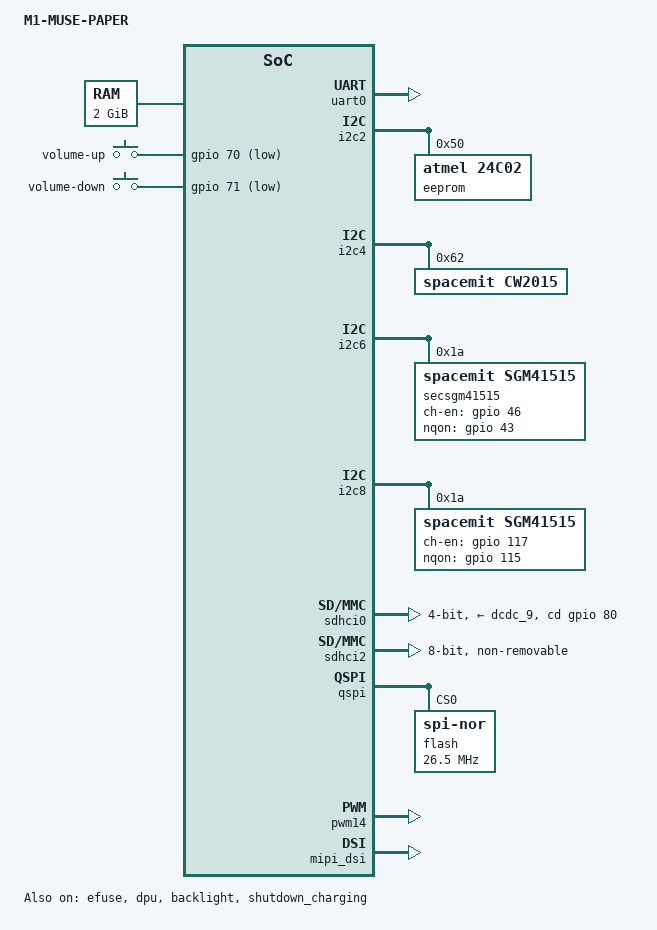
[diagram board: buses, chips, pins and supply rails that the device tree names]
// SPDX-License-Identifier: (GPL-2.0 OR MIT)
/* Copyright (c) 2023 Spacemit, Inc */

/dts-v1/;

#include "k1-x.dtsi"
#include "k1-x_pinctrl.dtsi"
#include "k1-x_spm8821.dtsi"
#include <dt-bindings/input/input.h>

/ {
	model = "M1-MUSE-PAPER";

	aliases {
		efuse_power = &ldo_31;
	};

	memory@0 {
		device_type = "memory";
		reg = <0x00000000 0x00000000 0x00000000 0x80000000>;
	};

	chosen {
		bootargs = "earlycon=sbi console=ttyS0,115200 debug loglevel=8,initcall_debug=1 rdinit=/init.tmp";
		stdout-path = "serial0:115200n8";
	};

	usb2hub: usb2hub {
		compatible = "spacemit,usb-hub";
		vbus-gpios = <&gpio 123 0>;	/* for usb2 hub output vbus */
		status = "disabled";
	};

	usb3hub: usb3hub {
		compatible = "spacemit,usb-hub";
		vbus-gpios = <&gpio 79 0>;	/* gpio_79 for usb3 pwren */
		status = "disabled";
	};

	gpio_keys: gpio_keys {
		compatible = "gpio-keys";
		fastboot-key-combo = "volume-up";
		fastboot-key-press-time = <2000>; /* in milliseconds */

		volume-up-button {
			label = "volume-up";
			linux,code = <KEY_VOLUMEUP>;
			gpios = <&gpio 70 1>;
			debounce-interval = <10>;
		};

		volume-down-button {
			label = "volume-down";
			linux,code = <KEY_VOLUMEDOWN>;
			gpios = <&gpio 71 1>;
			debounce-interval = <10>;
		};
	};

};

&cpus {
	timebase-frequency = <24000000>;
};

&uart0 {
	status = "okay";
};

&i2c0 {
	status = "disabled";
};

&i2c1 {
	status = "disabled";
};

&i2c2 {
	#address-cells = <1>;
	#size-cells = <0>;
	pinctrl-names = "default";
	pinctrl-0 = <&pinctrl_i2c2_0>;
	status = "okay";

	eeprom@50{
		compatible = "atmel,24c02";
		reg = <0x50>;
		vin-supply-names = "eeprom_1v8";
		status = "okay";
	};
};

&i2c3 {
	status = "disabled";
};

&i2c4 {
	#address-cells = <1>;
	#size-cells = <0>;
	pinctrl-names = "default";
	pinctrl-0 = <&pinctrl_i2c4_2>;
	status = "okay";

	cw2015: cw2015@62 {
		compatible = "spacemit,cw2015";
		reg = <0x62>;
		cellwise,battery-profile = /bits/ 8 <
			0x17 0x67 0x73 0x69 0x68 0x65 0x64 0x55
			0x75 0x60 0x4A 0x57 0x57 0x4E 0x42 0x3A
			0x30 0x28 0x23 0x1E 0x23 0x35 0x46 0x4D
			0x14 0x86 0x06 0x66 0x25 0x45 0x51 0x63
			0x72 0x69 0x66 0x6B 0x3F 0x1B 0x78 0x39
			0x0A 0x2F 0x1A 0x46 0x88 0x94 0x9B 0x12
			0x3B 0x5F 0x9A 0xB6 0x80 0x57 0x7F 0xCB
			0x2F 0x00 0x64 0xA5 0xB5 0xC1 0x46 0xAE
		>;
		status = "okay";
	};
};

&i2c5 {
	pinctrl-names = "default";
	pinctrl-0 = <&pinctrl_i2c5_0>;
	status = "disabled";
};

&i2c6 {
	pinctrl-names = "default";
	pinctrl-0 = <&pinctrl_i2c6_0>;
	status = "okay";
	secsgm41515: sgm41515-2 {
		compatible = "spacemit,sgm41515";
		reg = <0x1a>;
		ch-en-gpios = <&gpio 46 0>;
		nqon-gpios = <&gpio 43 0>;

		sgm41515-ichrg-uA = <1000000>;
		sgm41515-vchrg-uV = <4350000>;
		sgm41515-cur-input-uA = <2000000>;
		status = "okay";
	};
};

&i2c7 {
	status = "disabled";
};

&i2c8 {
	sgm41515: sgm41515 {
		compatible = "spacemit,sgm41515";
		reg = <0x1a>;
		ch-en-gpios = <&gpio 117 0>;
		nqon-gpios = <&gpio 115 0>;

		sgm41515-ichrg-uA = <1000000>;
		sgm41515-vchrg-uV = <4350000>;
		sgm41515-cur-input-uA = <2000000>;
		status = "okay";
	};
};

&pinctrl {
	pinctrl-single,gpio-range = <
		&range GPIO_49  2 (MUX_MODE0 | EDGE_NONE | PULL_UP   | PAD_3V_DS4)
		&range GPIO_58  1 (MUX_MODE0 | EDGE_NONE | PULL_DOWN | PAD_1V8_DS2)
		&range GPIO_63  1 (MUX_MODE0 | EDGE_NONE | PULL_DOWN | PAD_1V8_DS2)
		&range GPIO_64  1 (MUX_MODE1 | EDGE_NONE | PULL_DOWN | PAD_1V8_DS2)
		&range GPIO_65  1 (MUX_MODE0 | EDGE_NONE | PULL_UP   | PAD_1V8_DS2)
		&range GPIO_66  2 (MUX_MODE0 | EDGE_NONE | PULL_DOWN | PAD_1V8_DS2)
		&range PRI_TDI  2 (MUX_MODE1 | EDGE_NONE | PULL_UP   | PAD_1V8_DS2)
		&range PRI_TCK  1 (MUX_MODE1 | EDGE_NONE | PULL_DOWN | PAD_1V8_DS2)
		&range PRI_TDO  1 (MUX_MODE1 | EDGE_NONE | PULL_UP   | PAD_1V8_DS2)
		&range GPIO_74  1 (MUX_MODE0 | EDGE_NONE | PULL_UP   | PAD_1V8_DS2)
		&range GPIO_79  1 (MUX_MODE0 | EDGE_NONE | PULL_UP   | PAD_1V8_DS2)
		&range GPIO_80  1 (MUX_MODE0 | EDGE_NONE | PULL_UP   | PAD_3V_DS4)
		&range GPIO_81  3 (MUX_MODE0 | EDGE_NONE | PULL_UP   | PAD_1V8_DS2)
		&range GPIO_90  1 (MUX_MODE0 | EDGE_NONE | PULL_DOWN | PAD_1V8_DS2)
		&range GPIO_91  2 (MUX_MODE0 | EDGE_NONE | PULL_UP   | PAD_1V8_DS2)
		&range DVL0     2 (MUX_MODE1 | EDGE_NONE | PULL_DOWN | PAD_1V8_DS2)
		&range GPIO_110 1 (MUX_MODE0 | EDGE_NONE | PULL_DOWN | PAD_1V8_DS2)
		&range GPIO_114 1 (MUX_MODE0 | EDGE_NONE | PULL_DOWN | PAD_1V8_DS2)
		&range GPIO_115 2 (MUX_MODE0 | EDGE_NONE | PULL_DOWN | PAD_1V8_DS2)
		&range GPIO_123 1 (MUX_MODE0 | EDGE_NONE | PULL_DOWN | PAD_1V8_DS2)
		&range GPIO_124 1 (MUX_MODE0 | EDGE_NONE | PULL_UP   | PAD_1V8_DS2)
		&range GPIO_125 3 (MUX_MODE0 | EDGE_NONE | PULL_DOWN | PAD_1V8_DS2)
	>;
};

&gpio{
	gpio-ranges = <
		&pinctrl 49 GPIO_49 2
		&pinctrl 58 GPIO_58 1
		&pinctrl 63 GPIO_63 1
		&pinctrl 65 GPIO_65 3
		&pinctrl 70 PRI_TDI 4
		&pinctrl 74 GPIO_74 1
		&pinctrl 79 GPIO_79 1
		&pinctrl 80 GPIO_80 4
		&pinctrl 90 GPIO_90 3
		&pinctrl 96 DVL0 2
		&pinctrl 110 GPIO_110 1
		&pinctrl 114 GPIO_114 3
		&pinctrl 123 GPIO_123 5
	>;
};

&udc {
	status = "disabled";
};

&usbphy1 {
	status = "disabled";
};

&ehci1 {
	vbus-supply = <&usb2hub>;
	status = "disabled";
};

&usb2phy {
	status = "disabled";
};

&combphy {
	status = "disabled";
};


&usbdrd3 {
	status = "disabled";
	vbus-supply = <&usb3hub>;
	dwc3@c0a00000 {
		dr_mode = "host";
		phy_type = "utmi";
		snps,dis_enblslpm_quirk;
		snps,dis_u2_susphy_quirk;
		snps,dis_u3_susphy_quirk;
		snps,dis-del-phy-power-chg-quirk;
		snps,dis-tx-ipgap-linecheck-quirk;
	};
};

&sdhci0 {
	pinctrl-names = "default","fast";
	pinctrl-0 = <&pinctrl_mmc1>;
	pinctrl-1 = <&pinctrl_mmc1_fast>;
	bus-width = <4>;
	cd-gpios = <&gpio 80 0>;
	vmmc-supply = <&dcdc_9>;
	vqmmc-supply = <&ldo_23>;
	spacemit,aib_mmc1_io_reg = <0xD401E81C>;
	spacemit,apbc_asfar_reg = <0xD4015050>;
	spacemit,apbc_assar_reg = <0xD4015054>;
	spacemit,rx_dline_reg = <0x0>;
	spacemit,tx_dline_reg = <0x0>;
	spacemit,tx_delaycode = <0x7f>;
	spacemit,rx_tuning_limit = <50>;
	sdh-phy-module = <0>;
	clk-src-freq = <204800000>;
	status = "okay";
};

/* eMMC */
&sdhci2 {
	bus-width = <8>;
	non-removable;
	mmc-hs400-1_8v;
	mmc-hs400-enhanced-strobe;
	sdh-phy-module = <1>;
	clk-src-freq = <375000000>;
	status = "okay";
};

&qspi {
	status = "okay";
	pinctrl-names = "default";
	pinctrl-0 = <&pinctrl_qspi>;

	flash@0 {
		compatible = "jedec,spi-nor";
		reg = <0>;
		spi-max-frequency = <26500000>;
		m25p,fast-read;
		broken-flash-reset;
		status = "okay";
	};
};

&efuse {
	status = "okay";
};

&dpu {
	status = "okay";
};

&ldo_27 {
	regulator-init-microvolt = <1200000>;
	regulator-boot-on;
	regulator-state-mem {
			regulator-off-in-suspend;
	};
};

&ldo_33 {
	regulator-init-microvolt = <1800000>;
	regulator-boot-on;
	regulator-state-mem {
			regulator-off-in-suspend;
	};
};

&pwm14 {
	pinctrl-names = "default";
	pinctrl-0 = <&pinctrl_pwm14_1>;
	status = "okay";
};

&backlight {
	pwms = <&pwm14 0 2000>;
	default-brightness-level = <4>;
	status = "okay";
};

&mipi_dsi {
	status = "okay";
};

&panel {
	force-attached = "icnl9951r";
	dcp-gpios = <&gpio 34 0>;
	dcn-gpios = <&gpio 42 0>;
	avee-gpios = <&gpio 35 0>;
	avdd-gpios = <&gpio 36 0>;
	backlight = <&backlight>;
	enable-gpios = <&gpio 31 0>;
	reset-gpios = <&gpio 30 0>;
	status = "okay";
};

&shutdown_charging {
	electricity-meter = <&cw2015>;
	power-domains = <&pmu K1X_PMU_WKUP_EVENT_PWR_DOMAIN>;

	wk-name = "pwr_event", "pwr_int", "rtc_ctrl", "rtc_event", "rtc_irq", "sys-shutdown", "reboot-flag";
	pwr_event = <&power_event>;
	pwr_int = <&power_int>;

	rtc_ctrl = <&rtc_ctrl>;
	rtc_event = <&rtc_event>;
	rtc_irq = <&rtc_irq>;

	sys-shutdown = <&power_down>;
	reboot-flag = <&reboot_flag>;

	charge-light = <&gpio 75 0 &gpio 76 0>;
	valid-level = <1>;

	backlight = <&backlight>;

	charger-name = "charger0", "charger1";
	charger0 = <&sgm41515>;
	charger1 = <&secsgm41515>;

	battery-threshold0 = <3>;
	battery-threshold1 = <5>;
	battery-threshold2 = <100>;

	status = "okay";
};
